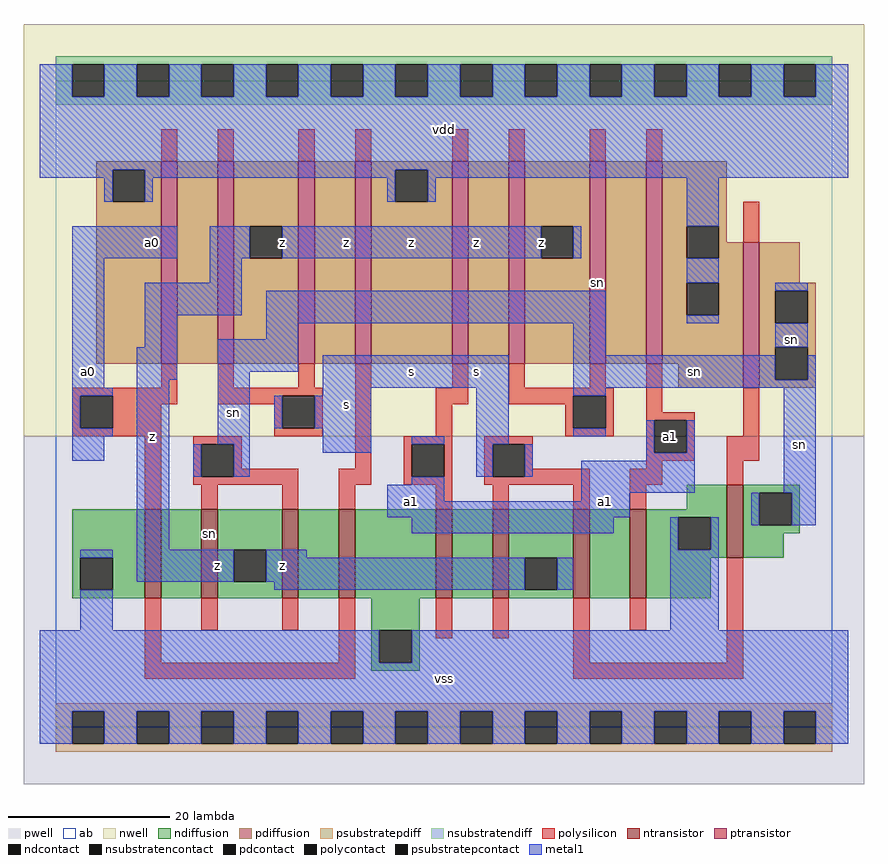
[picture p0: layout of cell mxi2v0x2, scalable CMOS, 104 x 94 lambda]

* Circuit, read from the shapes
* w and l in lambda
.subckt mxi2v0x2 a0 a1 s sn vdd vss z
M1 n1 a0 vss vss nfet w=11 l=2
M2 z sn n1 vss nfet w=11 l=2
M3 n2 sn z vss nfet w=11 l=2
M4 vss a0 n2 vss nfet w=11 l=2
M5 n3 a1 vss vss nfet w=11 l=2
M6 z s n3 vss nfet w=11 l=2
M7 n4 s z vss nfet w=11 l=2
M8 vss a1 n4 vss nfet w=11 l=2
M9 sn s vss vss nfet w=9 l=2
M10 n5 a0 vdd vdd pfet w=25 l=2
M11 z s n5 vdd pfet w=25 l=2
M12 n6 s z vdd pfet w=25 l=2
M13 vdd a0 n6 vdd pfet w=25 l=2
M14 n7 a1 vdd vdd pfet w=25 l=2
M15 z sn n7 vdd pfet w=25 l=2
M16 n8 sn z vdd pfet w=25 l=2
M17 vdd a1 n8 vdd pfet w=25 l=2
M18 sn s vdd vdd pfet w=18 l=2
.ends

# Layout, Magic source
magic
tech scmos
<< ab >>
rect 0 0 96 80
<< pwell >>
rect -4 -7 100 36
<< nwell >>
rect -4 36 100 87
<< polysilicon >>
rect 13 70 15 74
rect 20 70 22 74
rect 30 70 32 74
rect 37 70 39 74
rect 49 70 51 74
rect 56 70 58 74
rect 66 70 68 74
rect 73 70 75 74
rect 85 60 87 65
rect 13 42 15 45
rect 2 41 15 42
rect 2 37 3 41
rect 7 40 15 41
rect 20 42 22 45
rect 30 42 32 45
rect 20 41 33 42
rect 20 40 28 41
rect 7 37 13 40
rect 2 36 13 37
rect 27 37 28 40
rect 32 37 33 41
rect 27 36 33 37
rect 11 27 13 36
rect 17 35 23 36
rect 17 31 18 35
rect 22 32 23 35
rect 37 32 39 45
rect 49 42 51 45
rect 47 40 51 42
rect 56 42 58 45
rect 66 42 68 45
rect 56 41 69 42
rect 56 40 64 41
rect 47 36 49 40
rect 63 37 64 40
rect 68 37 69 41
rect 63 36 69 37
rect 73 39 75 45
rect 73 38 79 39
rect 22 31 30 32
rect 17 30 30 31
rect 18 27 20 30
rect 28 27 30 30
rect 35 30 39 32
rect 43 35 49 36
rect 43 31 44 35
rect 48 31 49 35
rect 43 30 49 31
rect 53 35 59 36
rect 53 31 54 35
rect 58 32 59 35
rect 73 34 74 38
rect 78 34 79 38
rect 85 36 87 42
rect 73 33 79 34
rect 83 33 87 36
rect 73 32 75 33
rect 58 31 66 32
rect 53 30 66 31
rect 35 27 37 30
rect 47 27 49 30
rect 54 27 56 30
rect 64 27 66 30
rect 71 30 75 32
rect 83 30 85 33
rect 71 27 73 30
rect 11 8 13 16
rect 18 12 20 16
rect 28 12 30 16
rect 35 8 37 16
rect 11 6 37 8
rect 47 11 49 16
rect 54 11 56 16
rect 64 8 66 16
rect 71 12 73 16
rect 83 8 85 21
rect 64 6 85 8
<< ndiffusion >>
rect 78 27 83 30
rect 2 21 11 27
rect 2 17 3 21
rect 7 17 11 21
rect 2 16 11 17
rect 13 16 18 27
rect 20 22 28 27
rect 20 18 22 22
rect 26 18 28 22
rect 20 16 28 18
rect 30 16 35 27
rect 37 16 47 27
rect 49 16 54 27
rect 56 21 64 27
rect 56 17 58 21
rect 62 17 64 21
rect 56 16 64 17
rect 66 16 71 27
rect 73 26 83 27
rect 73 22 77 26
rect 81 22 83 26
rect 73 21 83 22
rect 85 29 92 30
rect 85 25 87 29
rect 91 25 92 29
rect 85 24 92 25
rect 85 21 90 24
rect 73 16 81 21
rect 39 12 45 16
rect 39 8 40 12
rect 44 8 45 12
rect 39 7 45 8
<< pdiffusion >>
rect 5 69 13 70
rect 5 65 7 69
rect 11 65 13 69
rect 5 45 13 65
rect 15 45 20 70
rect 22 62 30 70
rect 22 58 24 62
rect 28 58 30 62
rect 22 45 30 58
rect 32 45 37 70
rect 39 69 49 70
rect 39 65 42 69
rect 46 65 49 69
rect 39 45 49 65
rect 51 45 56 70
rect 58 62 66 70
rect 58 58 60 62
rect 64 58 66 62
rect 58 45 66 58
rect 68 45 73 70
rect 75 62 83 70
rect 75 58 78 62
rect 82 60 83 62
rect 82 58 85 60
rect 75 55 85 58
rect 75 51 78 55
rect 82 51 85 55
rect 75 45 85 51
rect 77 42 85 45
rect 87 55 92 60
rect 87 54 94 55
rect 87 50 89 54
rect 93 50 94 54
rect 87 47 94 50
rect 87 43 89 47
rect 93 43 94 47
rect 87 42 94 43
<< metal1 >>
rect -2 78 2 82
rect 6 78 10 82
rect 14 78 18 82
rect 22 78 26 82
rect 30 78 34 82
rect 38 78 42 82
rect 46 78 50 82
rect 54 78 58 82
rect 62 78 66 82
rect 70 78 74 82
rect 78 78 82 82
rect 86 78 90 82
rect 94 78 98 82
rect -2 69 98 78
rect -2 68 7 69
rect 6 65 7 68
rect 11 68 42 69
rect 11 65 12 68
rect 41 65 42 68
rect 46 68 98 69
rect 46 65 47 68
rect 78 62 82 68
rect 2 58 15 62
rect 19 58 24 62
rect 28 58 60 62
rect 64 58 65 62
rect 2 42 6 58
rect 19 55 23 58
rect 11 51 23 55
rect 78 55 82 58
rect 11 47 15 51
rect 26 50 68 54
rect 78 50 82 51
rect 89 54 93 55
rect 26 48 30 50
rect 10 43 15 47
rect 20 44 30 48
rect 64 46 68 50
rect 89 47 93 50
rect 2 41 7 42
rect 2 37 3 41
rect 2 36 7 37
rect 2 33 6 36
rect 10 22 14 43
rect 20 35 24 44
rect 33 42 56 46
rect 33 41 39 42
rect 27 37 28 41
rect 32 37 39 41
rect 17 31 18 35
rect 22 31 24 35
rect 33 34 39 37
rect 44 35 48 36
rect 52 35 56 42
rect 64 43 89 46
rect 93 43 94 46
rect 64 42 94 43
rect 64 41 68 42
rect 64 36 68 37
rect 52 31 54 35
rect 58 31 59 35
rect 73 34 74 38
rect 78 34 79 38
rect 73 33 79 34
rect 44 30 48 31
rect 41 28 48 30
rect 65 29 79 33
rect 90 29 94 42
rect 65 28 71 29
rect 41 26 71 28
rect 44 24 69 26
rect 76 22 77 26
rect 81 22 82 26
rect 86 25 87 29
rect 91 25 94 29
rect 3 21 7 22
rect 10 18 22 22
rect 26 21 31 22
rect 26 18 58 21
rect 27 17 58 18
rect 62 17 64 21
rect 3 12 7 17
rect 76 12 82 22
rect -2 8 40 12
rect 44 8 98 12
rect -2 2 98 8
rect -2 -2 2 2
rect 6 -2 10 2
rect 14 -2 18 2
rect 22 -2 26 2
rect 30 -2 34 2
rect 38 -2 42 2
rect 46 -2 50 2
rect 54 -2 58 2
rect 62 -2 66 2
rect 70 -2 74 2
rect 78 -2 82 2
rect 86 -2 90 2
rect 94 -2 98 2
<< ntransistor >>
rect 11 16 13 27
rect 18 16 20 27
rect 28 16 30 27
rect 35 16 37 27
rect 47 16 49 27
rect 54 16 56 27
rect 64 16 66 27
rect 71 16 73 27
rect 83 21 85 30
<< ptransistor >>
rect 13 45 15 70
rect 20 45 22 70
rect 30 45 32 70
rect 37 45 39 70
rect 49 45 51 70
rect 56 45 58 70
rect 66 45 68 70
rect 73 45 75 70
rect 85 42 87 60
<< polycontact >>
rect 3 37 7 41
rect 28 37 32 41
rect 18 31 22 35
rect 64 37 68 41
rect 44 31 48 35
rect 54 31 58 35
rect 74 34 78 38
<< ndcontact >>
rect 3 17 7 21
rect 22 18 26 22
rect 58 17 62 21
rect 77 22 81 26
rect 87 25 91 29
rect 40 8 44 12
<< pdcontact >>
rect 7 65 11 69
rect 24 58 28 62
rect 42 65 46 69
rect 60 58 64 62
rect 78 58 82 62
rect 78 51 82 55
rect 89 50 93 54
rect 89 43 93 47
<< psubstratepcontact >>
rect 2 -2 6 2
rect 10 -2 14 2
rect 18 -2 22 2
rect 26 -2 30 2
rect 34 -2 38 2
rect 42 -2 46 2
rect 50 -2 54 2
rect 58 -2 62 2
rect 66 -2 70 2
rect 74 -2 78 2
rect 82 -2 86 2
rect 90 -2 94 2
<< nsubstratencontact >>
rect 2 78 6 82
rect 10 78 14 82
rect 18 78 22 82
rect 26 78 30 82
rect 34 78 38 82
rect 42 78 46 82
rect 50 78 54 82
rect 58 78 62 82
rect 66 78 70 82
rect 74 78 78 82
rect 82 78 86 82
rect 90 78 94 82
<< psubstratepdiff >>
rect 0 2 96 3
rect 0 -2 2 2
rect 6 -2 10 2
rect 14 -2 18 2
rect 22 -2 26 2
rect 30 -2 34 2
rect 38 -2 42 2
rect 46 -2 50 2
rect 54 -2 58 2
rect 62 -2 66 2
rect 70 -2 74 2
rect 78 -2 82 2
rect 86 -2 90 2
rect 94 -2 96 2
rect 0 -3 96 -2
<< nsubstratendiff >>
rect 0 82 96 83
rect 0 78 2 82
rect 6 78 10 82
rect 14 78 18 82
rect 22 78 26 82
rect 30 78 34 82
rect 38 78 42 82
rect 46 78 50 82
rect 54 78 58 82
rect 62 78 66 82
rect 70 78 74 82
rect 78 78 82 82
rect 86 78 90 82
rect 94 78 96 82
rect 0 77 96 78
<< labels >>
rlabel ntransistor 19 24 19 24 6 sn
rlabel ptransistor 67 55 67 55 6 sn
rlabel metal1 4 44 4 44 6 a0
rlabel metal1 12 36 12 36 6 z
rlabel metal1 12 60 12 60 6 a0
rlabel metal1 20 20 20 20 6 z
rlabel metal1 28 20 28 20 6 z
rlabel metal1 22 39 22 39 6 sn
rlabel metal1 28 60 28 60 6 z
rlabel metal1 48 6 48 6 6 vss
rlabel metal1 44 28 44 28 6 a1
rlabel metal1 36 40 36 40 6 s
rlabel metal1 52 44 52 44 6 s
rlabel metal1 44 44 44 44 6 s
rlabel metal1 36 60 36 60 6 z
rlabel metal1 52 60 52 60 6 z
rlabel metal1 44 60 44 60 6 z
rlabel metal1 48 74 48 74 6 vdd
rlabel metal1 68 28 68 28 6 a1
rlabel polycontact 76 36 76 36 6 a1
rlabel metal1 60 60 60 60 6 z
rlabel metal1 92 35 92 35 6 sn
rlabel metal1 79 44 79 44 6 sn
rlabel metal1 91 48 91 48 6 sn
<< end >>
